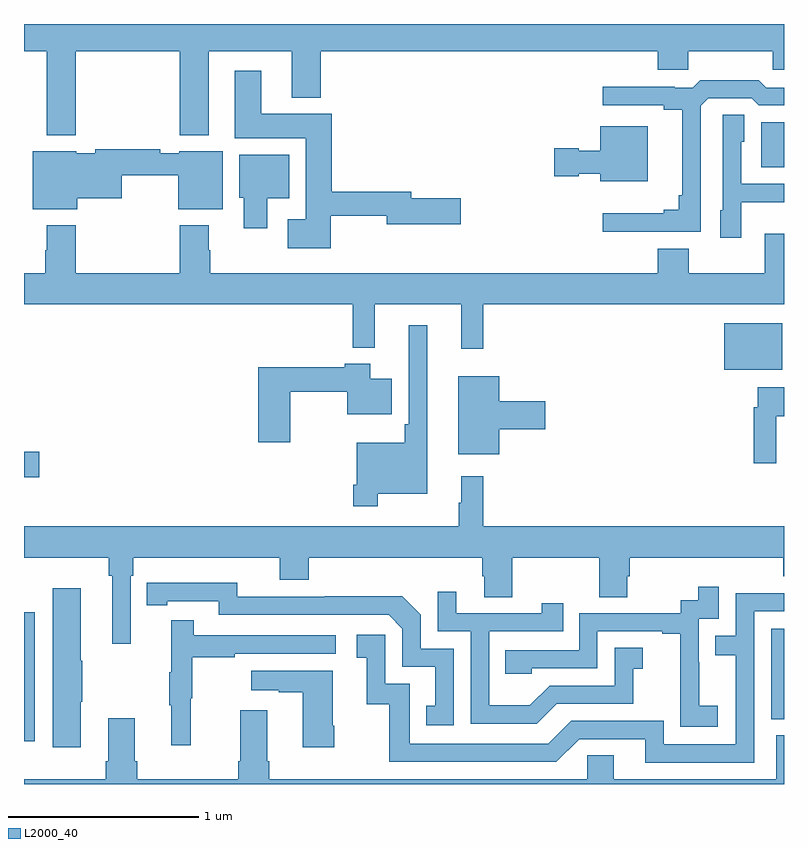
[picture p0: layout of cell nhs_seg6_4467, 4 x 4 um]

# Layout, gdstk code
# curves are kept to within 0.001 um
import gdstk
lib = gdstk.Library(unit=1e-6, precision=1e-09)
def R(c, l, rs):  # rectangles x0, y0, x1, y1
    for r in rs: c.add(gdstk.rectangle(r[:2], r[2:], *l))
def P(c, l, *ps):  # polygons
    for p in ps: c.add(gdstk.Polygon(p, *l))
L2000_40 = (2000, 40)

nhs_seg6_4467 = lib.new_cell('nhs_seg6_4467')
R(nhs_seg6_4467, L2000_40, [(375,923.724,375.057,924.404), (378.933,923.841,379,924.318), (375,925.115,375.079,925.25), (378.686,925.679,378.991,925.924), (378.881,926.747,379,926.983)])
P(nhs_seg6_4467, L2000_40, [(375.272,927.356),(375.821,927.356),(375.821,926.915),(375.973,926.915),(375.973,927.356),(376.409,927.356),(376.409,927.113),(376.562,927.113),(376.562,927.356),(378.335,927.356),(378.335,927.258),(378.495,927.258),(378.495,927.356),(378.94,927.356),(378.94,927.258),(379,927.258),(379,927.5),(375,927.5),(375,927.356),(375.119,927.356),(375.119,926.915),(375.272,926.915)],
  [(376.614,926.49),(376.91,926.49),(376.91,926.447),(377.299,926.447),(377.299,926.582),(377.038,926.582),(377.038,926.618),(376.619,926.618),(376.619,927.028),(376.249,927.028),(376.249,927.253),(376.109,927.253),(376.109,926.9),(376.484,926.9),(376.484,926.473),(376.389,926.473),(376.389,926.321),(376.614,926.321)],
  [(378.561,927.069),(378.6,927.108),(378.831,927.108),(378.867,927.072),(379,927.072),(379,927.165),(378.906,927.165),(378.867,927.205),(378.559,927.205),(378.519,927.165),(378.425,927.165),(378.425,927.17),(378.045,927.17),(378.045,927.072),(378.368,927.072),(378.368,927.05),(378.464,927.05),(378.464,926.599),(378.445,926.599),(378.445,926.522),(378.368,926.522),(378.368,926.503),(378.045,926.503),(378.045,926.406),(378.561,926.406)],
  [(378.774,926.561),(379,926.561),(379,926.658),(378.774,926.658),(378.774,926.88),(378.79,926.88),(378.79,927.023),(378.678,927.023),(378.678,926.52),(378.665,926.52),(378.665,926.376),(378.774,926.376)],
  [(378.283,926.962),(378.032,926.962),(378.032,926.833),(377.919,926.833),(377.919,926.846),(377.79,926.846),(377.79,926.699),(377.919,926.699),(377.919,926.711),(378.032,926.711),(378.032,926.672),(378.283,926.672)],
  [(375.28,926.582),(375.514,926.582),(375.514,926.704),(375.812,926.704),(375.812,926.525),(376.045,926.525),(376.045,926.83),(375.816,926.83),(375.816,926.82),(375.716,926.82),(375.716,926.84),(375.376,926.84),(375.376,926.821),(375.276,926.821),(375.276,926.83),(375.047,926.83),(375.047,926.525),(375.28,926.525)],
  [(376.279,926.582),(376.396,926.582),(376.396,926.812),(376.133,926.812),(376.133,926.586),(376.157,926.586),(376.157,926.424),(376.279,926.424)],
  [(377.417,926.024),(379,926.024),(379,926.395),(378.899,926.395),(378.899,926.188),(378.499,926.188),(378.499,926.317),(378.335,926.317),(378.335,926.188),(375.981,926.188),(375.981,926.309),(375.973,926.309),(375.973,926.44),(375.821,926.44),(375.821,926.188),(375.272,926.188),(375.272,926.44),(375.119,926.44),(375.119,926.309),(375.112,926.309),(375.112,926.188),(375,926.188),(375,926.024),(376.729,926.024),(376.729,925.796),(376.847,925.796),(376.847,926.024),(377.3,926.024),(377.3,925.791),(377.417,925.791)],
  [(376.861,925.028),(377.122,925.028),(377.122,925.915),(377.025,925.915),(377.025,925.393),(377.005,925.393),(377.005,925.297),(376.752,925.297),(376.752,925.075),(376.732,925.075),(376.732,924.963),(376.861,924.963)],
  [(376.402,925.564),(376.7,925.564),(376.7,925.445),(376.936,925.445),(376.936,925.633),(376.822,925.633),(376.822,925.711),(376.688,925.711),(376.688,925.693),(376.232,925.693),(376.232,925.299),(376.402,925.299)],
  [(377.5,925.367),(377.743,925.367),(377.743,925.514),(377.5,925.514),(377.5,925.645),(377.285,925.645),(377.285,925.235),(377.5,925.235)],
  [(378.959,925.436),(379,925.436),(379,925.588),(378.861,925.588),(378.861,925.484),(378.841,925.484),(378.841,925.188),(378.959,925.188)],
  [(375.561,924.596),(375.575,924.596),(375.575,924.692),(376.346,924.692),(376.346,924.575),(376.499,924.575),(376.499,924.692),(377.411,924.692),(377.411,924.594),(377.423,924.594),(377.423,924.484),(377.571,924.484),(377.571,924.692),(378.028,924.692),(378.028,924.484),(378.175,924.484),(378.175,924.594),(378.188,924.594),(378.188,924.692),(378.995,924.692),(378.995,924.593),(379,924.593),(379,924.856),(377.417,924.856),(377.417,925.12),(377.3,925.12),(377.3,924.98),(377.289,924.98),(377.289,924.856),(375,924.856),(375,924.692),(375.445,924.692),(375.445,924.596),(375.464,924.596),(375.464,924.237),(375.561,924.237)],
  [(377.262,924.213),(377.088,924.213),(377.088,924.39),(376.99,924.488),(376.582,924.488),(376.582,924.486),(376.122,924.486),(376.122,924.559),(375.646,924.558),(375.646,924.442),(375.754,924.442),(375.754,924.462),(376.026,924.462),(376.026,924.39),(376.92,924.39),(376.992,924.318),(376.992,924.117),(377.165,924.117),(377.165,923.913),(377.116,923.913),(377.116,923.808),(377.262,923.808)],
  [(378.652,923.911),(378.554,923.911),(378.554,924.14),(378.552,924.14),(378.552,924.369),(378.657,924.369),(378.657,924.538),(378.549,924.538),(378.549,924.468),(378.456,924.468),(378.456,924.399),(377.922,924.399),(377.922,924.204),(377.533,924.204),(377.533,924.081),(377.673,924.081),(377.673,924.108),(378.018,924.108),(378.018,924.303),(378.359,924.303),(378.359,924.291),(378.455,924.291),(378.455,924.007),(378.454,924.007),(378.454,923.801),(378.652,923.801)],
  [(375.298,923.932),(375.306,923.932),(375.306,924.149),(375.298,924.149),(375.298,924.529),(375.152,924.529),(375.152,923.694),(375.298,923.694)],
  [(377.803,923.922),(378.207,923.922),(378.207,924.107),(378.256,924.107),(378.256,924.217),(378.108,924.217),(378.108,924.018),(377.766,924.018),(377.662,923.914),(377.448,923.914),(377.448,924.303),(377.837,924.303),(377.837,924.451),(377.726,924.451),(377.726,924.399),(377.275,924.399),(377.275,924.511),(377.178,924.511),(377.178,924.303),(377.352,924.303),(377.352,923.817),(377.698,923.817)],
  [(378.843,924.408),(379,924.408),(379,924.504),(378.747,924.504),(378.747,924.279),(378.637,924.279),(378.637,924.178),(378.747,924.178),(378.747,923.709),(378.366,923.709),(378.366,923.832),(377.88,923.832),(377.76,923.712),(377.031,923.712),(377.031,924.027),(376.902,924.027),(376.902,924.286),(376.752,924.286),(376.752,924.165),(376.805,924.165),(376.805,923.919),(376.923,923.919),(376.923,923.616),(377.802,923.616),(377.922,923.736),(378.269,923.736),(378.269,923.613),(378.843,923.613)],
  [(375.878,923.952),(375.886,923.952),(375.886,924.166),(376.109,924.166),(376.109,924.186),(376.642,924.186),(376.642,924.282),(375.893,924.282),(375.893,924.361),(375.776,924.361),(375.776,924.089),(375.765,924.089),(375.765,923.915),(375.776,923.915),(375.776,923.703),(375.878,923.703)],
  [(376.632,923.806),(376.624,923.806),(376.624,924.097),(376.197,924.097),(376.197,923.993),(376.34,923.993),(376.34,923.983),(376.466,923.983),(376.466,923.694),(376.632,923.694)],
  [(379,923.756),(378.959,923.756),(378.959,923.524),(378.103,923.524),(378.103,923.651),(377.964,923.651),(377.964,923.524),(376.292,923.524),(376.292,923.62),(376.279,923.62),(376.279,923.887),(376.139,923.887),(376.139,923.62),(376.127,923.62),(376.127,923.524),(375.596,923.524),(375.596,923.62),(375.583,923.62),(375.583,923.845),(375.443,923.845),(375.443,923.62),(375.431,923.62),(375.431,923.524),(375,923.524),(375,923.5),(379,923.5)])

lib.write_gds('nhs_seg6_4467.gds')
